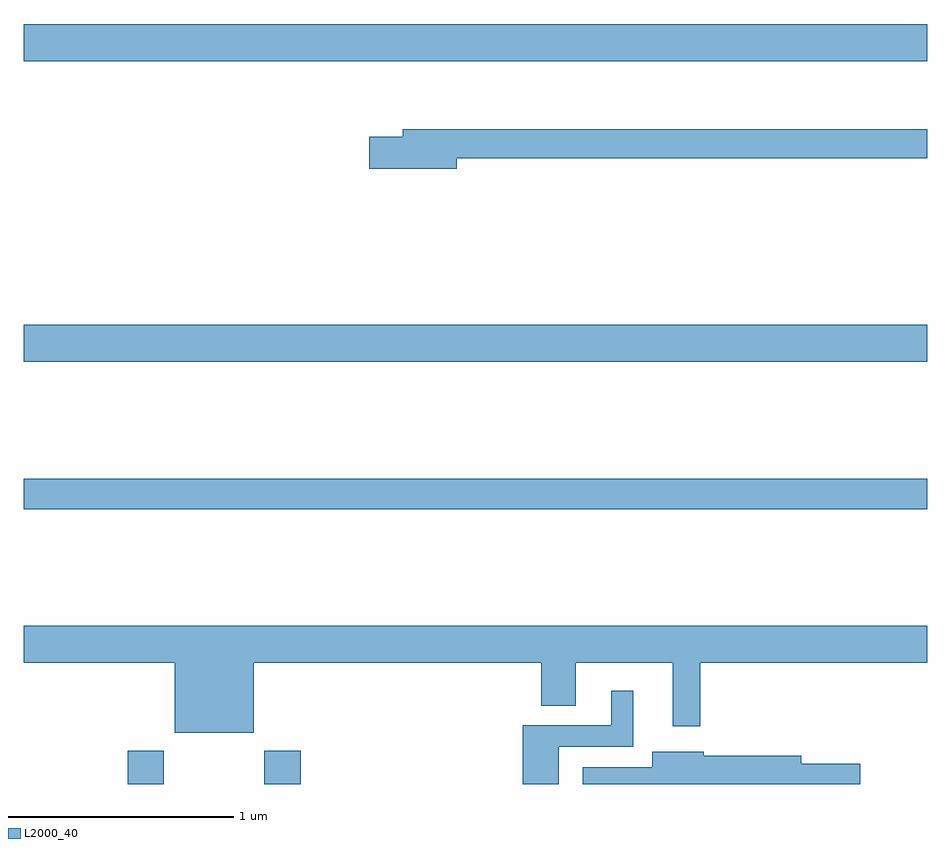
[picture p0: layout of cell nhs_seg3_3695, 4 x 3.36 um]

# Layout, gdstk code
import gdstk
lib = gdstk.Library(unit=1e-6, precision=1e-09)
def R(c, l, rs):  # rectangles x0, y0, x1, y1
    for r in rs: c.add(gdstk.rectangle(r[:2], r[2:], *l))
def P(c, l, *ps):  # polygons
    for p in ps: c.add(gdstk.Polygon(p, *l))
L2000_40 = (2000, 40)

nhs_seg3_3695 = lib.new_cell('nhs_seg3_3695')
R(nhs_seg3_3695, L2000_40, [(303.461,680.4,303.621,680.548), (304.066,680.4,304.226,680.548), (303,681.616,307,681.752), (303,682.268,307,682.432), (303,683.6,307,683.764)])
P(nhs_seg3_3695, L2000_40, [(304.918,683.17),(307,683.17),(307,683.299),(304.679,683.299),(304.679,683.265),(304.53,683.265),(304.53,683.123),(304.918,683.123)],
  [(304.018,680.936),(305.291,680.936),(305.291,680.746),(305.443,680.746),(305.443,680.936),(305.873,680.936),(305.873,680.655),(305.995,680.655),(305.995,680.936),(307,680.936),(307,681.1),(303,681.1),(303,680.936),(303.668,680.936),(303.668,680.627),(304.018,680.627)],
  [(305.368,680.565),(305.698,680.565),(305.698,680.812),(305.6,680.812),(305.6,680.661),(305.21,680.661),(305.21,680.4),(305.368,680.4)],
  [(306.703,680.49),(306.442,680.49),(306.442,680.524),(306.01,680.524),(306.01,680.542),(305.783,680.542),(305.783,680.475),(305.475,680.475),(305.475,680.4),(306.703,680.4)])

lib.write_gds('nhs_seg3_3695.gds')
